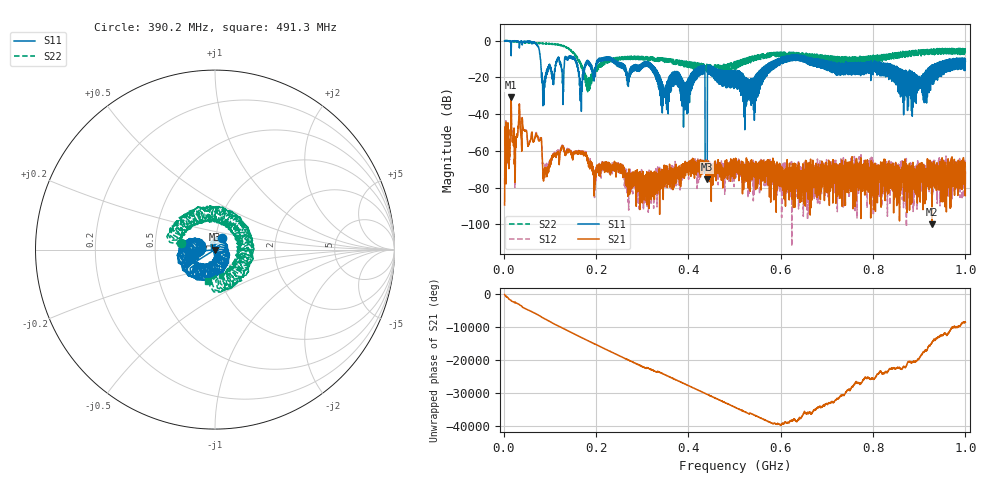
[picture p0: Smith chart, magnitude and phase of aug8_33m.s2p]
!Keysight Technologies N9923A: A.12.45
!Date: Friday, 08 August 2025 17:54:22
!Timezone: (UTC+08:00) Kuala Lumpur, Singapore
!Model: N9923A
!Serial: MY61181427
!GPS Latitude:
!GPS Longitude:
!GPS TimeStamp: 0001-01-01 00:00:00Z
!GPS Seconds Since Last Read: 0
!CHECKSUM:0571478945
!Correction: S11(ON U)S21(ON U)S12(ON U)S22(ON U)
!S2P File: Measurements:S11,S21,S12,S22:
# Hz S DB R 50
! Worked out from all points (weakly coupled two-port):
!   4001 points, 2 MHz to 1 GHz, reference 50 ohm
!   highest |S21| = -30.92 dB at 16.22 MHz (marker M1); lowest = -100.1 dB at 927.6 MHz (marker M2)
!   lowest |S11| = -75.4 dB at 440.6 MHz (marker M3), VSWR 1.00, Z = 50 - j0.015 ohm
!   |S11| at or under -10 dB: 155.2 MHz to 205.8 MHz (50.65 MHz wide, 28.1 % of centre); 236.1 MHz to 594.5 MHz (358.4 MHz wide, 86.3 % of centre); 680.7 MHz to 965.8 MHz (285.1 MHz wide, 34.6 % of centre) (the widest 3 of 98)
!   |S22| runs from -28.0 to 0.1 dB; largest |S21 - S12| = 0.001
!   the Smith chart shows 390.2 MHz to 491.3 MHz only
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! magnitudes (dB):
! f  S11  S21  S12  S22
! 2 MHz  -0.1  -89.5  -78.0  0.0
! 16.22 MHz  -8.2  -30.9  -31.0  -0.5
! 76.85 MHz  -4.9  -54.2  -53.7  -1.5
! 89.82 MHz  -20.3  -71.8  -68.2  -1.8
! 146.7 MHz  -8.5  -61.8  -61.5  -5.7
! 168.4 MHz  -35.9  -61.1  -60.9  -14.0
! 183.6 MHz  -11.3  -66.9  -66.6  -28.0
! 222.8 MHz  -9.0  -68.8  -68.1  -10.5
! 334.8 MHz  -19.0  -73.1  -77.4  -11.4
! 394.2 MHz  -35.2  -67.4  -68.0  -11.8
! 430.9 MHz  -18.4  -66.5  -66.0  -15.7
! 435.9 MHz  -18.3  -67.3  -67.0  -16.1
! 440.6 MHz  -75.4  -75.6  -75.4  -17.2
! 446.1 MHz  -18.3  -71.1  -72.0  -15.2
! 501 MHz  -16.3  -68.7  -66.7  -15.5
! 538.2 MHz  -23.3  -75.8  -72.9  -11.7
! 599.6 MHz  -9.4  -69.1  -68.1  -6.3
! 667.4 MHz  -10.1  -86.9  -83.8  -8.3
! 833.8 MHz  -18.8  -83.0  -69.3  -8.0
! 890 MHz  -32.9  -74.7  -70.8  -5.6
! 927.6 MHz  -23.0  -100.1  -80.1  -7.2
! 1 GHz  -11.3  -71.8  -71.5  -6.1
